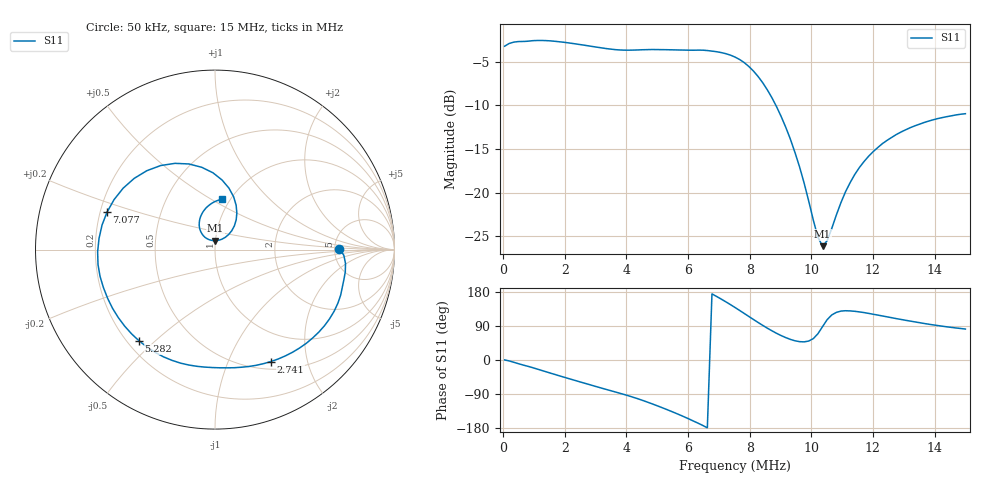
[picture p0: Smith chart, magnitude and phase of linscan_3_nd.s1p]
# Hz S RI R 50
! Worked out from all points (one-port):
!   101 points, 50 kHz to 15 MHz, reference 50 ohm
!   lowest |S11| = -26.2 dB at 10.37 MHz (marker M1), VSWR 1.10, Z = 49.9 + j4.92 ohm
!   |S11| at or under -10 dB: 8.853 MHz to end of sweep
!   S11 on the Smith chart (normalised r, x): 50 kHz: 5.51, +0.06; 2.741 MHz: 0.60, -1.44; 5.282 MHz: 0.25, -0.45; 7.077 MHz: 0.23, +0.16; 15 MHz: 0.92, +0.56
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50000  0.6926 0.00276
349000  0.7272 -0.0771
947000  0.7001 -0.2539
1395500  0.6388 -0.3849
1993500  0.5085 -0.5222
2741000  0.3112 -0.6239
3787500  0.0262 -0.6585
4535000  -0.1913 -0.6328
5282500  -0.4229 -0.5087
5731000  -0.5384 -0.3793
6478500  -0.6518 -0.0837
6777500  -0.646 0.0625
7076500  -0.6014 0.209
7525000  -0.4502 0.3968
7973500  -0.2229 0.4805
8272500  -0.0737 0.4585
8571500  0.0398 0.3872
9020000  0.1178 0.2474
9468500  0.1078 0.1318
9767500  0.076 0.084
1.0216e7  0.0195 0.0518
1.03655e7  0.00165 0.0492
1.0515e7  -0.015 0.0507
1.09635e7  -0.0553 0.068
1.12625e7  -0.0726 0.088
1.201e7  -0.0877 0.1477
1.3206e7  -0.052 0.2297
1.5e7  0.041 0.2806
